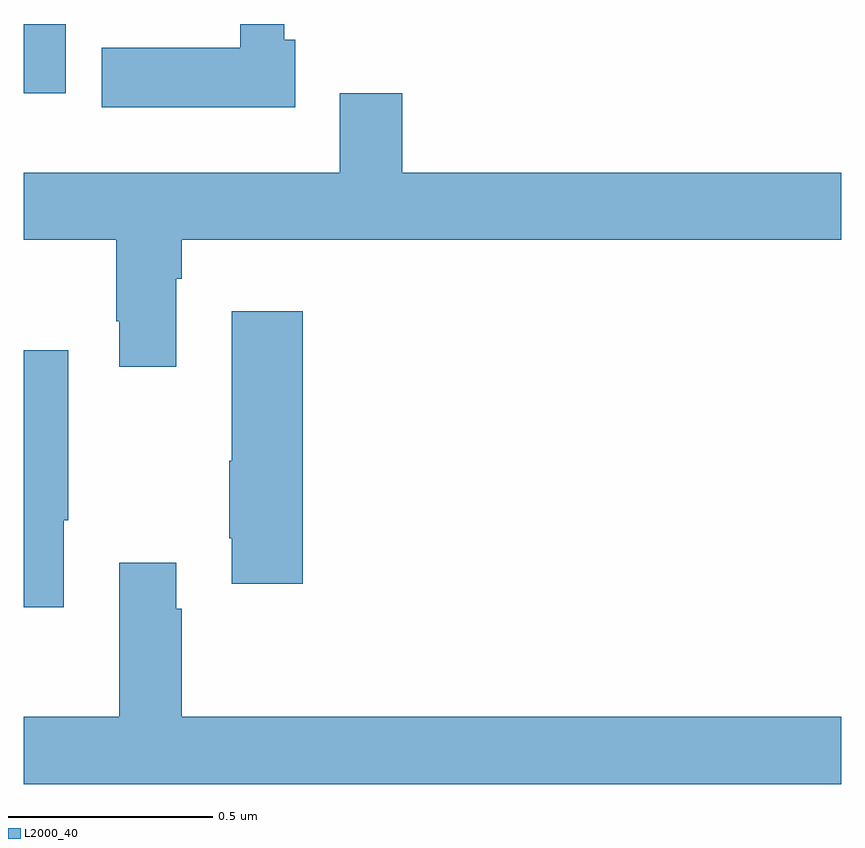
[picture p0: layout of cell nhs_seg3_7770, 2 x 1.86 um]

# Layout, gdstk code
import gdstk
lib = gdstk.Library(unit=1e-6, precision=1e-09)
def R(c, l, rs):  # rectangles x0, y0, x1, y1
    for r in rs: c.add(gdstk.rectangle(r[:2], r[2:], *l))
def P(c, l, *ps):  # polygons
    for p in ps: c.add(gdstk.Polygon(p, *l))
L2000_40 = (2000, 40)

nhs_seg3_7770 = lib.new_cell('nhs_seg3_7770')
R(nhs_seg3_7770, L2000_40, [(207,745.23,207.103,745.4)])
P(nhs_seg3_7770, L2000_40, [(207.664,745.362),(207.637,745.362),(207.637,745.4),(207.53,745.4),(207.53,745.342),(207.191,745.342),(207.191,745.196),(207.664,745.196)],
  [(207.373,744.776),(207.386,744.776),(207.386,744.872),(209,744.872),(209,745.036),(207.926,745.036),(207.926,745.231),(207.773,745.231),(207.773,745.036),(207,745.036),(207,744.872),(207.226,744.872),(207.226,744.673),(207.233,744.673),(207.233,744.561),(207.373,744.561)],
  [(207.682,744.697),(207.509,744.697),(207.509,744.331),(207.502,744.331),(207.502,744.142),(207.509,744.142),(207.509,744.03),(207.682,744.03)],
  [(207.097,744.185),(207.109,744.185),(207.109,744.601),(207,744.601),(207,743.973),(207.097,743.973)],
  [(209,743.704),(207.386,743.704),(207.386,743.969),(207.373,743.969),(207.373,744.082),(207.233,744.082),(207.233,743.704),(207,743.704),(207,743.54),(209,743.54)])

lib.write_gds('nhs_seg3_7770.gds')
